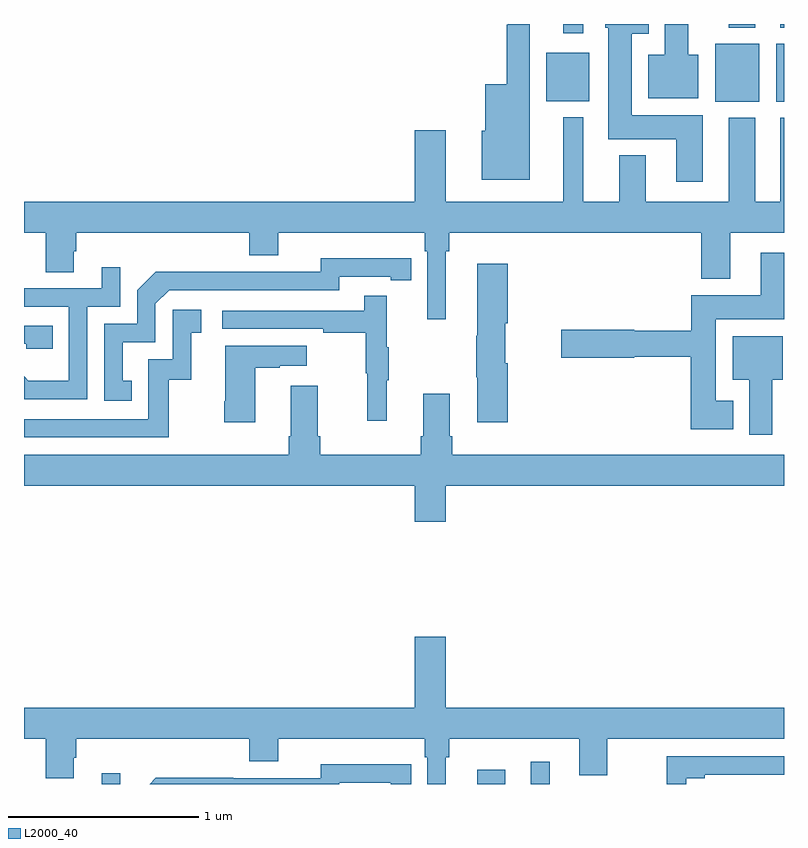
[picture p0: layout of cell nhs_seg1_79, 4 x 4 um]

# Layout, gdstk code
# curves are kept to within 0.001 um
import gdstk
lib = gdstk.Library(unit=1e-6, precision=1e-09)
def R(c, l, rs):  # rectangles x0, y0, x1, y1
    for r in rs: c.add(gdstk.rectangle(r[:2], r[2:], *l))
def P(c, l, *ps):  # polygons
    for p in ps: c.add(gdstk.Polygon(p, *l))
L2000_40 = (2000, 40)

nhs_seg1_79 = lib.new_cell('nhs_seg1_79')
R(nhs_seg1_79, L2000_40, [(115.409,514.199,115.506,514.255), (117.386,514.199,117.532,514.273), (117.668,514.199,117.766,514.315), (118.637,517.79,118.87,518.095), (118.958,517.79,119,518.095), (117.749,517.793,117.976,518.047), (117.839,518.151,117.943,518.199), (118.709,518.18,118.849,518.199), (118.979,518.18,119,518.199)])
P(nhs_seg1_79, L2000_40, [(117.661,518.199),(117.547,518.199),(117.547,518.195),(117.54,518.195),(117.54,517.882),(117.428,517.882),(117.428,517.638),(117.41,517.638),(117.41,517.379),(117.661,517.379)],
  [(118.549,518.038),(118.495,518.038),(118.495,518.199),(118.373,518.199),(118.373,518.038),(118.286,518.038),(118.286,517.808),(118.549,517.808)],
  [(118.573,517.72),(118.198,517.72),(118.198,518.147),(118.288,518.147),(118.288,518.199),(118.058,518.199),(118.058,518.178),(118.076,518.178),(118.076,517.592),(118.433,517.592),(118.433,517.368),(118.573,517.368)],
  [(117.22,517.004),(117.239,517.004),(117.239,517.1),(118.565,517.1),(118.565,516.857),(118.717,516.857),(118.717,517.1),(119,517.1),(119,517.705),(118.979,517.705),(118.979,517.264),(118.849,517.264),(118.849,517.705),(118.709,517.705),(118.709,517.264),(118.273,517.264),(118.273,517.507),(118.133,517.507),(118.133,517.264),(117.943,517.264),(117.943,517.708),(117.839,517.708),(117.839,517.264),(117.22,517.264),(117.22,517.639),(117.056,517.639),(117.056,517.264),(115,517.264),(115,517.1),(115.114,517.1),(115.114,516.892),(115.261,516.892),(115.261,517.002),(115.274,517.002),(115.274,517.1),(116.186,517.1),(116.186,516.983),(116.338,516.983),(116.338,517.1),(117.11,517.1),(117.11,517.004),(117.123,517.004),(117.123,516.645),(117.22,516.645)],
  [(118.732,516.217),(118.642,516.217),(118.642,516.644),(119,516.644),(119,516.996),(118.877,516.996),(118.877,516.772),(118.513,516.772),(118.513,516.584),(118.212,516.584),(118.212,516.59),(117.828,516.59),(117.828,516.443),(118.212,516.443),(118.212,516.448),(118.508,516.448),(118.508,516.065),(118.732,516.065)],
  [(115.568,516.321),(115.519,516.321),(115.519,516.525),(115.692,516.525),(115.692,516.726),(115.764,516.798),(116.658,516.798),(116.658,516.87),(116.93,516.87),(116.93,516.85),(117.038,516.85),(117.038,516.966),(116.562,516.967),(116.562,516.894),(115.694,516.895),(115.596,516.798),(115.596,516.621),(115.422,516.621),(115.422,516.216),(115.568,516.216)],
  [(117.545,516.414),(117.532,516.414),(117.532,516.624),(117.545,516.624),(117.545,516.937),(117.386,516.937),(117.386,516.557),(117.379,516.557),(117.379,516.34),(117.386,516.34),(117.386,516.102),(117.545,516.102)],
  [(115.332,516.711),(115.506,516.711),(115.506,516.919),(115.409,516.919),(115.409,516.807),(115,516.807),(115,516.711),(115.236,516.711),(115.236,516.322),(115.022,516.322),(115,516.344),(115,516.225),(115.332,516.225)],
  [(116.909,516.323),(116.92,516.323),(116.92,516.497),(116.909,516.497),(116.909,516.769),(116.791,516.769),(116.791,516.69),(116.043,516.69),(116.043,516.594),(116.575,516.594),(116.575,516.574),(116.799,516.574),(116.799,516.36),(116.806,516.36),(116.806,516.111),(116.909,516.111)],
  [(115.762,516.327),(115.88,516.327),(115.88,516.573),(115.933,516.573),(115.933,516.694),(115.782,516.694),(115.782,516.435),(115.653,516.435),(115.653,516.12),(115,516.12),(115,516.024),(115.762,516.024)],
  [(115.151,516.612),(115,516.612),(115,516.516),(115.011,516.516),(115.011,516.489),(115.151,516.489)],
  [(118.939,516.326),(118.993,516.326),(118.993,516.556),(118.73,516.556),(118.73,516.326),(118.817,516.326),(118.817,516.036),(118.939,516.036)],
  [(116.218,516.391),(116.345,516.391),(116.345,516.401),(116.488,516.401),(116.488,516.505),(116.06,516.505),(116.06,516.214),(116.053,516.214),(116.053,516.102),(116.218,516.102)],
  [(117.22,515.768),(119,515.768),(119,515.932),(117.254,515.932),(117.254,516.028),(117.241,516.028),(117.241,516.253),(117.101,516.253),(117.101,516.028),(117.089,516.028),(117.089,515.932),(116.558,515.932),(116.558,516.028),(116.545,516.028),(116.545,516.295),(116.405,516.295),(116.405,516.028),(116.393,516.028),(116.393,515.932),(115,515.932),(115,515.768),(117.056,515.768),(117.056,515.58),(117.22,515.58)],
  [(117.22,514.34),(117.239,514.34),(117.239,514.436),(117.923,514.436),(117.923,514.246),(118.071,514.246),(118.071,514.436),(119,514.436),(119,514.6),(117.22,514.6),(117.22,514.975),(117.056,514.975),(117.056,514.6),(115,514.6),(115,514.436),(115.114,514.436),(115.114,514.228),(115.261,514.228),(115.261,514.338),(115.274,514.338),(115.274,514.436),(116.186,514.436),(116.186,514.319),(116.338,514.319),(116.338,514.436),(117.11,514.436),(117.11,514.34),(117.123,514.34),(117.123,514.199),(117.22,514.199)],
  [(118.486,514.228),(118.582,514.228),(118.582,514.248),(119,514.248),(119,514.344),(118.384,514.344),(118.384,514.199),(118.486,514.199)],
  [(116.658,514.206),(116.93,514.206),(116.93,514.199),(117.038,514.199),(117.038,514.302),(116.562,514.303),(116.562,514.23),(116.102,514.23),(116.102,514.232),(115.694,514.232),(115.661,514.199),(116.658,514.199)])

lib.write_gds('nhs_seg1_79.gds')
